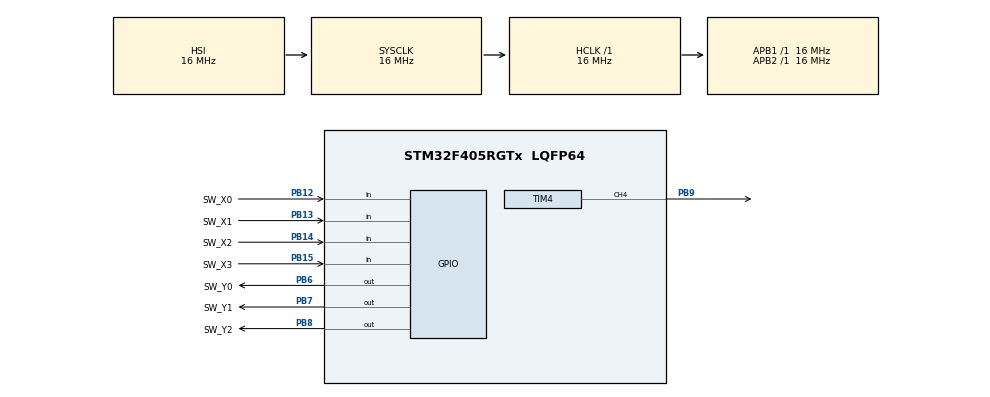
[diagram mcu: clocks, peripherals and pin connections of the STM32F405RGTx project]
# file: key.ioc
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Mcu.Family=STM32F4
Mcu.Name=STM32F405RGTx
Mcu.Package=LQFP64
NVIC.PriorityGroup=NVIC_PRIORITYGROUP_4
PB12.GPIO_Label=SW_X0
PB12.Signal=GPIO_Input
PB13.GPIO_Label=SW_X1
PB13.Signal=GPIO_Input
PB14.GPIO_Label=SW_X2
PB14.Signal=GPIO_Input
PB15.GPIO_Label=SW_X3
PB15.Signal=GPIO_Input
PB6.GPIO_Label=SW_Y0
PB6.Signal=GPIO_Output
PB7.GPIO_Label=SW_Y1
PB7.Signal=GPIO_Output
PB8.GPIO_Label=SW_Y2
PB8.Signal=GPIO_Output
PB9.Signal=S_TIM4_CH4
ProjectManager.HeapSize=0x200
ProjectManager.StackSize=0x400
ProjectManager.TargetToolchain=MDK-ARM V5
RCC.AHBFreq_Value=16000000
RCC.APB1Freq_Value=16000000
RCC.APB2Freq_Value=16000000
RCC.CortexFreq_Value=16000000
RCC.HSE_VALUE=25000000
RCC.HSI_VALUE=16000000
RCC.LSE_VALUE=32768
RCC.SYSCLKFreq_VALUE=16000000
RCC.VCOOutputFreq_Value=192000000
SH.S_TIM4_CH4.0=TIM4_CH4,PWM Generation4 CH4
TIM4.Channel-PWM\ Generation4\ CH4=TIM_CHANNEL_4
TIM4.Period=16-1
VP_TIM4_VS_ClockSourceINT.Mode=Internal
VP_TIM4_VS_ClockSourceITR.Mode=TriggerSource_ITR0
VP_TIM4_VS_ControllerModeTrigger.Mode=Trigger Mode
board=custom

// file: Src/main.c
/* USER CODE BEGIN Header */
/**
  ******************************************************************************
  * @file           : main.c
  * @brief          : Main program body
  ******************************************************************************
  * @attention
  *
  * <h2><center>&copy; Copyright (c) 2019 STMicroelectronics.
  * All rights reserved.</center></h2>
  *
  * This software component is licensed by ST under BSD 3-Clause license,
  * the "License"; You may not use this file except in compliance with the
  * License. You may obtain a copy of the License at:
  *                        opensource.org/licenses/BSD-3-Clause
  *
  ******************************************************************************
  */
/* USER CODE END Header */

#include "main.h"

TIM_HandleTypeDef htim4;

/* USER CODE BEGIN PV */
	//              ?7  1   2   3   4   5   6   7  ?1 ?2 ?3 ?4 ?5 ???
	uint16_t tone[] = {247,262,294,330,349,392,440,294,523,587,659,698,784,1000};//?????
	//????
	uint8_t music[]={5,5,6,8,7,6,5,6,13,13,//??
                5,5,6,8,7,6,5,3,13,13,
                2,2,3,5,3,5,6,3,2,1,
                6,6,5,6,5,3,6,5,13,13,

                5,5,6,8,7,6,5,6,13,13,
                5,5,6,8,7,6,5,3,13,13,
                2,2,3,5,3,5,6,3,2,1,
                6,6,5,6,5,3,6,1,

                13,8,9,10,10,9,8,10,9,8,6,
                13,6,8,9,9,8,6,9,8,6,5,
                13,2,3,5,5,3,5,5,6,8,7,6,
                6,10,9,9,8,6,5,6,8};
	uint8_t time[] = {2,4,2,2,2,2,2,8,4, 4, //??
                2,4,2,2,2,2,2,8,4, 4,
                2,4,2,4,2,2,4,2,2,8,
                2,4,2,2,2,2,2,8,4 ,4,

                2,4,2,2,2,2,2,8,4, 4,
                2,4,2,2,2,2,2,8,4, 4,
                2,4,2,4,2,2,4,2,2,8,
                2,4,2,2,2,2,2,8,

                4, 2,2,2, 4, 2,2,2, 2,2,8,
                4, 2,2,2,4,2,2,2,2,2,8,
                4, 2,2,2,4,2,2,5,2,6,2,4,
                2,2 ,2,4,2,4,2,2,12};
/* USER CODE END PV */

void SystemClock_Config(void);
static void MX_GPIO_Init(void);
static void MX_TIM4_Init(void);

/* USER CODE BEGIN 0 */
uint16_t Key_scan(void);
void play_music(void);
void Sound_music(uint16_t frq);
/* USER CODE END 0 */

int main(void)
{
  /* USER CODE BEGIN 1 */
	uint16_t get_key_value;
  /* USER CODE END 1 */

  /* MCU Configuration--------------------------------------------------------*/

  /* Reset of all peripherals, Initializes the Flash interface and the Systick. */
  HAL_Init();

  /* Configure the system clock */
  SystemClock_Config();

  /* Initialize all configured peripherals */
  MX_GPIO_Init();
  MX_TIM4_Init();

  /* Infinite loop */
  /* USER CODE BEGIN WHILE */
  while (1)
  {

	 get_key_value = Key_scan();
	 HAL_Delay(50);
	  switch(get_key_value)
	  {
		  case 1:
			  HAL_TIMEx_PWMN_Start(&htim4,TIM_CHANNEL_4 );
			  play_music();
				break;
		  case 2:
			  HAL_TIMEx_PWMN_Start(&htim4,TIM_CHANNEL_4 );
			  Sound_music((uint16_t)tone[music[2]]);
			 HAL_Delay(1000);
		  break;
		  case 3:
			  HAL_TIMEx_PWMN_Start(&htim4,TIM_CHANNEL_4 );
			  Sound_music((uint16_t)tone[music[2]]);
				HAL_Delay(1000);
		  break;
		  case 4:
			  HAL_TIMEx_PWMN_Start(&htim4,TIM_CHANNEL_4 );
			  Sound_music((uint16_t)tone[music[2]]);
			HAL_Delay(1000);
		  break;
		  default:
			  break;
	  }

	  HAL_TIMEx_PWMN_Stop(&htim4,TIM_CHANNEL_4 );

    /* USER CODE END WHILE */

  }
}

void SystemClock_Config(void)
{
  RCC_OscInitTypeDef RCC_OscInitStruct = {0};
  RCC_ClkInitTypeDef RCC_ClkInitStruct = {0};

  /** Configure the main internal regulator output voltage
  */
  __HAL_RCC_PWR_CLK_ENABLE();
  __HAL_PWR_VOLTAGESCALING_CONFIG(PWR_REGULATOR_VOLTAGE_SCALE1);
  /** Initializes the CPU, AHB and APB busses clocks
  */
  RCC_OscInitStruct.OscillatorType = RCC_OSCILLATORTYPE_HSI;
  RCC_OscInitStruct.HSIState = RCC_HSI_ON;
  RCC_OscInitStruct.HSICalibrationValue = RCC_HSICALIBRATION_DEFAULT;
  RCC_OscInitStruct.PLL.PLLState = RCC_PLL_NONE;
  if (HAL_RCC_OscConfig(&RCC_OscInitStruct) != HAL_OK)
  {
    Error_Handler();
  }
  /** Initializes the CPU, AHB and APB busses clocks
  */
  RCC_ClkInitStruct.ClockType = RCC_CLOCKTYPE_HCLK|RCC_CLOCKTYPE_SYSCLK
                              |RCC_CLOCKTYPE_PCLK1|RCC_CLOCKTYPE_PCLK2;
  RCC_ClkInitStruct.SYSCLKSource = RCC_SYSCLKSOURCE_HSI;
  RCC_ClkInitStruct.AHBCLKDivider = RCC_SYSCLK_DIV1;
  RCC_ClkInitStruct.APB1CLKDivider = RCC_HCLK_DIV1;
  RCC_ClkInitStruct.APB2CLKDivider = RCC_HCLK_DIV1;

  if (HAL_RCC_ClockConfig(&RCC_ClkInitStruct, FLASH_LATENCY_0) != HAL_OK)
  {
    Error_Handler();
  }
}

static void MX_TIM4_Init(void)
{

  TIM_ClockConfigTypeDef sClockSourceConfig = {0};
  TIM_SlaveConfigTypeDef sSlaveConfig = {0};
  TIM_MasterConfigTypeDef sMasterConfig = {0};
  TIM_OC_InitTypeDef sConfigOC = {0};

  htim4.Instance = TIM4;
  htim4.Init.Prescaler = 0;
  htim4.Init.CounterMode = TIM_COUNTERMODE_UP;
  htim4.Init.Period = 16-1;
  htim4.Init.ClockDivision = TIM_CLOCKDIVISION_DIV1;
  htim4.Init.AutoReloadPreload = TIM_AUTORELOAD_PRELOAD_DISABLE;
  if (HAL_TIM_Base_Init(&htim4) != HAL_OK)
  {
    Error_Handler();
  }
  sClockSourceConfig.ClockSource = TIM_CLOCKSOURCE_INTERNAL;
  if (HAL_TIM_ConfigClockSource(&htim4, &sClockSourceConfig) != HAL_OK)
  {
    Error_Handler();
  }
  if (HAL_TIM_PWM_Init(&htim4) != HAL_OK)
  {
    Error_Handler();
  }
  sSlaveConfig.SlaveMode = TIM_SLAVEMODE_TRIGGER;
  sSlaveConfig.InputTrigger = TIM_TS_ITR0;
  if (HAL_TIM_SlaveConfigSynchro(&htim4, &sSlaveConfig) != HAL_OK)
  {
    Error_Handler();
  }
  sMasterConfig.MasterOutputTrigger = TIM_TRGO_RESET;
  sMasterConfig.MasterSlaveMode = TIM_MASTERSLAVEMODE_DISABLE;
  if (HAL_TIMEx_MasterConfigSynchronization(&htim4, &sMasterConfig) != HAL_OK)
  {
    Error_Handler();
  }
  sConfigOC.OCMode = TIM_OCMODE_PWM1;
  sConfigOC.Pulse = 0;
  sConfigOC.OCPolarity = TIM_OCPOLARITY_HIGH;
  sConfigOC.OCFastMode = TIM_OCFAST_DISABLE;
  if (HAL_TIM_PWM_ConfigChannel(&htim4, &sConfigOC, TIM_CHANNEL_4) != HAL_OK)
  {
    Error_Handler();
  }
  HAL_TIM_MspPostInit(&htim4);

}

static void MX_GPIO_Init(void)
{
  GPIO_InitTypeDef GPIO_InitStruct = {0};

  /* GPIO Ports Clock Enable */
  __HAL_RCC_GPIOB_CLK_ENABLE();

  /*Configure GPIO pin Output Level */
  HAL_GPIO_WritePin(GPIOB, SW_Y0_Pin|SW_Y1_Pin|SW_Y2_Pin, GPIO_PIN_RESET);

  /*Configure GPIO pins : SW_X0_Pin SW_X1_Pin SW_X2_Pin SW_X3_Pin */
  GPIO_InitStruct.Pin = SW_X0_Pin|SW_X1_Pin|SW_X2_Pin|SW_X3_Pin;
  GPIO_InitStruct.Mode = GPIO_MODE_INPUT;
  GPIO_InitStruct.Pull = GPIO_NOPULL;
  HAL_GPIO_Init(GPIOB, &GPIO_InitStruct);

  /*Configure GPIO pins : SW_Y0_Pin SW_Y1_Pin SW_Y2_Pin */
  GPIO_InitStruct.Pin = SW_Y0_Pin|SW_Y1_Pin|SW_Y2_Pin;
  GPIO_InitStruct.Mode = GPIO_MODE_OUTPUT_PP;
  GPIO_InitStruct.Pull = GPIO_NOPULL;
  GPIO_InitStruct.Speed = GPIO_SPEED_FREQ_LOW;
  HAL_GPIO_Init(GPIOB, &GPIO_InitStruct);

}

/* USER CODE BEGIN 4 */
uint16_t Key_scan(void)
{
	uint8_t i;

	/*=========================???????????=========================*/
	HAL_GPIO_WritePin(GPIOD, SW_Y0_Pin|SW_Y1_Pin|SW_Y2_Pin, GPIO_PIN_RESET); // ???????

	/*----------------------------Scan the 1st ROW----------------------------*/
	HAL_GPIO_WritePin(GPIOD, SW_Y1_Pin|SW_Y2_Pin, GPIO_PIN_SET);   // ??PD0~2?1
	for(i=0;i<4;i++)
	{
		if(GPIO_PIN_RESET == HAL_GPIO_ReadPin(GPIOD, i+SW_X0_Pin))
		{
			return (i+1);
		}
	}

	/*=========================???????????=========================*/
	HAL_GPIO_WritePin(GPIOD, SW_Y0_Pin|SW_Y1_Pin|SW_Y2_Pin, GPIO_PIN_RESET); // ???????

	/*----------------------------Scan the 1st ROW----------------------------*/
	HAL_GPIO_WritePin(GPIOD, SW_Y0_Pin|SW_Y2_Pin, GPIO_PIN_SET);   // ??PD0~2?1
	for(i=0;i<4;i++)
	{
		if(GPIO_PIN_RESET == HAL_GPIO_ReadPin(GPIOD, i+SW_X0_Pin))
		{
			return (i+5);
		}
	}

	/*=========================???????????=========================*/
	HAL_GPIO_WritePin(GPIOD, SW_Y0_Pin|SW_Y1_Pin|SW_Y2_Pin, GPIO_PIN_RESET); // ???????

	/*----------------------------Scan the 1st ROW----------------------------*/
	HAL_GPIO_WritePin(GPIOD, SW_Y0_Pin|SW_Y1_Pin, GPIO_PIN_SET);   // ??PD0~2?1
	for(i=0;i<4;i++)
	{
		if(GPIO_PIN_RESET == HAL_GPIO_ReadPin(GPIOD, i+SW_X0_Pin))
		{
			return (i+9);
		}
	}

	return 0;
}
static void ImprovePwm(uint16_t time)
{

  /* USER CODE BEGIN TIM4_Init 0 */

  /* USER CODE END TIM4_Init 0 */

  TIM_ClockConfigTypeDef sClockSourceConfig = {0};
  TIM_SlaveConfigTypeDef sSlaveConfig = {0};
  TIM_MasterConfigTypeDef sMasterConfig = {0};
  TIM_OC_InitTypeDef sConfigOC = {0};

  /* USER CODE BEGIN TIM4_Init 1 */

  /* USER CODE END TIM4_Init 1 */
  htim4.Instance = TIM4;
  htim4.Init.Prescaler = time-1;
  htim4.Init.CounterMode = TIM_COUNTERMODE_UP;
  htim4.Init.Period = 16-1;
  htim4.Init.ClockDivision = TIM_CLOCKDIVISION_DIV1;
  htim4.Init.AutoReloadPreload = TIM_AUTORELOAD_PRELOAD_DISABLE;
  if (HAL_TIM_Base_Init(&htim4) != HAL_OK)
  {
    Error_Handler();
  }
  sClockSourceConfig.ClockSource = TIM_CLOCKSOURCE_INTERNAL;
  if (HAL_TIM_ConfigClockSource(&htim4, &sClockSourceConfig) != HAL_OK)
  {
    Error_Handler();
  }
  if (HAL_TIM_PWM_Init(&htim4) != HAL_OK)
  {
    Error_Handler();
  }
  sSlaveConfig.SlaveMode = TIM_SLAVEMODE_TRIGGER;
  sSlaveConfig.InputTrigger = TIM_TS_ITR0;
  if (HAL_TIM_SlaveConfigSynchro(&htim4, &sSlaveConfig) != HAL_OK)
  {
    Error_Handler();
  }
  sMasterConfig.MasterOutputTrigger = TIM_TRGO_RESET;
  sMasterConfig.MasterSlaveMode = TIM_MASTERSLAVEMODE_DISABLE;
  if (HAL_TIMEx_MasterConfigSynchronization(&htim4, &sMasterConfig) != HAL_OK)
  {
    Error_Handler();
  }
  sConfigOC.OCMode = TIM_OCMODE_PWM1;
  sConfigOC.Pulse = (time-1)/2;
  sConfigOC.OCPolarity = TIM_OCPOLARITY_HIGH;
  sConfigOC.OCFastMode = TIM_OCFAST_DISABLE;
  if (HAL_TIM_PWM_ConfigChannel(&htim4, &sConfigOC, TIM_CHANNEL_4) != HAL_OK)
  {
    Error_Handler();
  }
  /* USER CODE BEGIN TIM4_Init 2 */

  /* USER CODE END TIM4_Init 2 */
  HAL_TIM_MspPostInit(&htim4);

}

void Sound_music(uint16_t frq)
{
	uint16_t time;
	if(frq != 1000)
	{
		time = 500000/((uint16_t)frq);

	}
	else
		time = 0;
	ImprovePwm(time*2);
}
void play_music(void)
{

	uint32_t yanshi;
	uint16_t i,e;
	yanshi = 10;
	for(i=0;i<sizeof(music)/sizeof(music[0]);i++){
		for(e=0;e<((uint16_t)time[i])*tone[music[i]]/yanshi;e++){
			Sound_music((uint16_t)tone[music[i]]);
		}
	}
}

/* USER CODE END 4 */

void Error_Handler(void)
{
}

/************************ (C) COPYRIGHT STMicroelectronics *****END OF FILE****/
